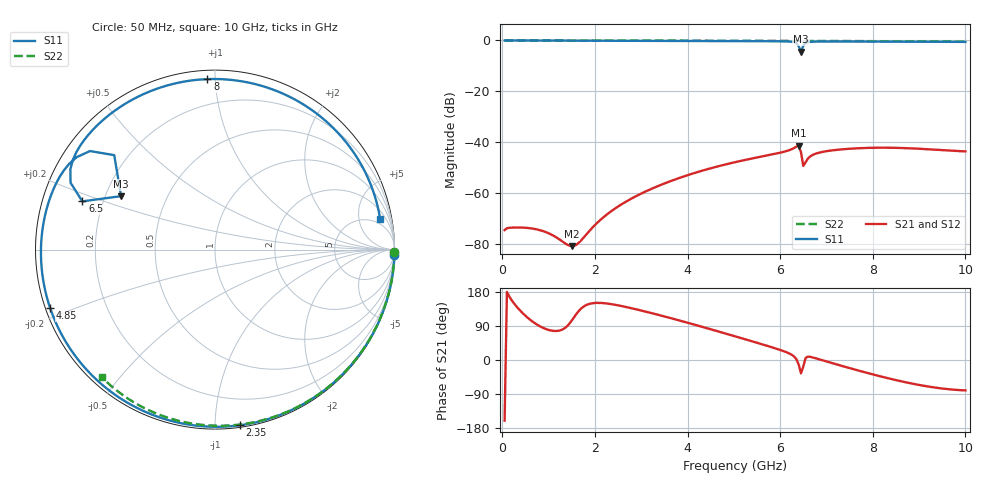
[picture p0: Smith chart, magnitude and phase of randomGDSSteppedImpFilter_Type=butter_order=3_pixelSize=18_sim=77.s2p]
! freq	dB(S11)	phase(S11)	dB(S12)	phase(S12)
!  dB(S21)	phase(S21)	dB(S22)	phase(S22)
!S-par simulation data
#  GHz  S  DB  R 50
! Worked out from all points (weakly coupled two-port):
!   200 points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, 50 MHz to 10 GHz, reference 50 ohm
!   highest |S21| = -41.27 dB at 6.4 GHz (marker M1); lowest = -80.7 dB at 1.5 GHz (marker M2)
!   lowest |S11| = -4.4 dB at 6.45 GHz (marker M3), VSWR 4.03, Z = 13.2 + j12.4 ohm
!   |S11| at or under -10 dB: nowhere
!   |S22| runs from -0.4 to 0.0 dB; largest |S21 - S12| = 0
!   S11 on the Smith chart (normalised r, x): 50 MHz: 0, -63; 2.35 GHz: 0.01, -1.15; 4.85 GHz: 0.01, -0.17; 6.5 GHz: 0.12, +0.17; 8 GHz: 0.05, +0.96; 10 GHz: 3, +10
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0.05  -0.00 -1.8  -74.38 -160.1  -74.38 -160.1  -0.00 -0.8
0.75  -0.03 -27.1  -74.10 93.4  -74.10 93.4  -0.01 -11.4
1.5  -0.07 -53.4  -80.67 104.2  -80.67 104.2  -0.03 -22.6
1.6  -0.07 -56.8  -80.10 121.5  -80.10 121.5  -0.03 -24.1
1.75  -0.08 -62.0  -77.42 140.5  -77.42 140.5  -0.03 -26.3
2.35  -0.10 -82.0  -66.98 147.5  -66.98 147.5  -0.05 -35.1
3.4  -0.15 -115.5  -56.81 118.2  -56.81 118.2  -0.07 -50.1
4.15  -0.18 -138.7  -51.97 93.3  -51.97 93.3  -0.08 -60.4
4.85  -0.22 -160.4  -48.49 68.8  -48.49 68.8  -0.10 -69.8
5.05  -0.24 -166.7  -47.63 61.7  -47.63 61.7  -0.11 -72.4
6.05  -0.35 159.2  -43.80 24.4  -43.80 24.4  -0.15 -85.2
6.3  -0.66 146.2  -42.19 9.3  -42.19 9.3  -0.16 -88.4
6.4  -2.28 136.9  -41.27 -11.8  -41.27 -11.8  -0.16 -89.6
6.45  -4.41 150.3  -43.83 -35.2  -43.83 -35.2  -0.17 -90.2
6.5  -2.09 160.0  -49.19 -17.1  -49.19 -17.1  -0.17 -90.8
6.55  -1.04 155.1  -47.79 5.4  -47.79 5.4  -0.17 -91.5
6.7  -0.50 144.8  -44.90 6.9  -44.90 6.9  -0.18 -93.3
7.3  -0.41 120.0  -42.76 -14.5  -42.76 -14.5  -0.21 -100.5
8  -0.44 92.6  -42.08 -38.0  -42.08 -38.0  -0.26 -108.8
8.35  -0.45 78.5  -42.06 -48.7  -42.06 -48.7  -0.29 -112.9
9.25  -0.50 41.4  -42.72 -71.1  -42.72 -71.1  -0.37 -123.2
10  -0.58 10.6  -43.50 -80.2  -43.50 -80.2  -0.44 -131.7
